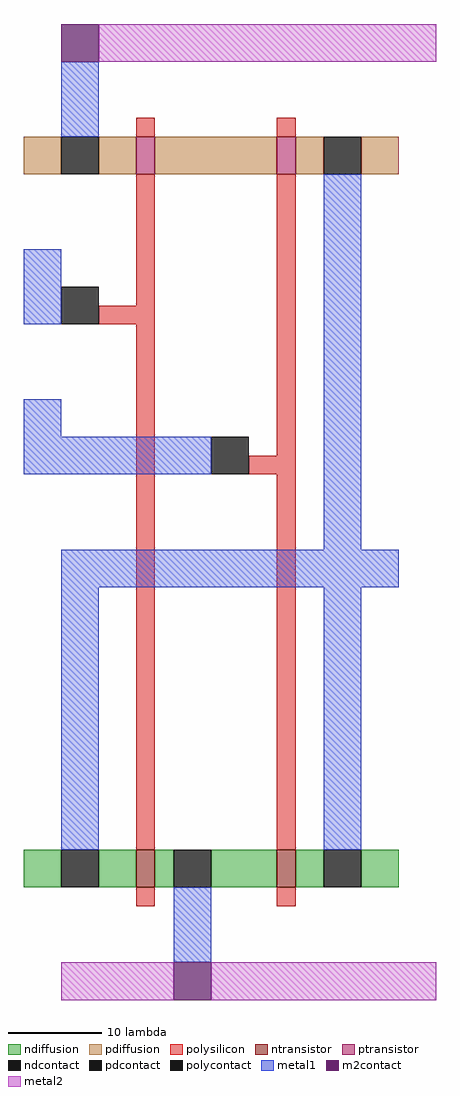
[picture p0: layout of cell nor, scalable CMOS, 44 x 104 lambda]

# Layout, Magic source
magic
tech scmos
<< polysilicon >>
rect 12 92 14 94
rect 27 92 29 94
rect 12 74 14 88
rect 8 72 14 74
rect 12 16 14 72
rect 27 58 29 88
rect 24 56 29 58
rect 27 16 29 56
rect 12 10 14 12
rect 27 10 29 12
<< ndiffusion >>
rect 0 12 4 16
rect 8 12 12 16
rect 14 12 16 16
rect 20 12 27 16
rect 29 12 32 16
rect 36 12 40 16
<< pdiffusion >>
rect 0 88 4 92
rect 8 88 12 92
rect 14 88 27 92
rect 29 88 32 92
rect 36 88 40 92
<< metal1 >>
rect 4 92 8 100
rect 0 72 4 80
rect 0 60 4 64
rect 0 56 20 60
rect 32 48 36 88
rect 4 44 40 48
rect 4 16 8 44
rect 32 16 36 44
rect 16 4 20 12
<< metal2 >>
rect 8 100 44 104
rect 4 0 16 4
rect 20 0 44 4
<< ntransistor >>
rect 12 12 14 16
rect 27 12 29 16
<< ptransistor >>
rect 12 88 14 92
rect 27 88 29 92
<< polycontact >>
rect 4 72 8 76
rect 20 56 24 60
<< ndcontact >>
rect 4 12 8 16
rect 16 12 20 16
rect 32 12 36 16
<< pdcontact >>
rect 4 88 8 92
rect 32 88 36 92
<< m2contact >>
rect 4 100 8 104
rect 16 0 20 4
<< end >>
